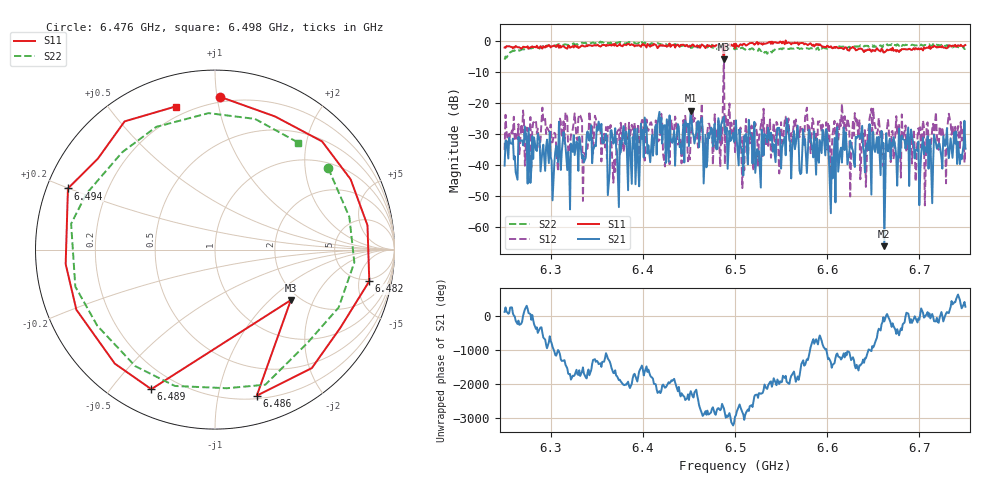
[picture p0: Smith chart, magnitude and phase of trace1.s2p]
# Hz S RI R 50
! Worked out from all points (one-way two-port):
!   401 points, 6.25 GHz to 6.75 GHz, reference 50 ohm
!   highest |S21| = -22.49 dB at 6.452 GHz (marker M1); lowest = -66.2 dB at 6.662 GHz (marker M2)
!   lowest |S11| = -5.9 dB at 6.488 GHz (marker M3), VSWR 3.06, Z = 90 - j68.2 ohm
!   |S11| at or under -10 dB: nowhere
!   |S22| runs from -6.0 to -0.2 dB; largest |S21 - S12| = 0.73
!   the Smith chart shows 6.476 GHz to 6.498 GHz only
!   S11 on the Smith chart (normalised r, x): 6.476 GHz: 0.16, +1.02; 6.482 GHz: 4.55, -6.95; 6.486 GHz: 0.23, -1.30; 6.489 GHz: 0.11, -0.64; 6.494 GHz: 0.06, +0.20; 6.498 GHz: 0.15, +0.75
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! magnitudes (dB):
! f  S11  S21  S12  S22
! 6.25 GHz  -2.1  -40.2  -35.1  -6.0
! 6.334 GHz  -1.4  -37.9  -25.7  -0.5
! 6.35 GHz  -1.4  -27.6  -27.2  -0.5
! 6.369 GHz  -1.5  -32.4  -38.4  -0.5
! 6.418 GHz  -1.5  -22.9  -32.0  -0.9
! 6.452 GHz  -1.8  -22.5  -30.6  -2.2
! 6.476 GHz  -1.4  -34.0  -39.9  -2.2
! 6.482 GHz  -1.1  -24.9  -25.7  -1.9
! 6.486 GHz  -1.4  -26.1  -33.1  -2.1
! 6.488 GHz  -5.9  -24.4  -3.4  -2.1
! 6.489 GHz  -1.4  -29.5  -39.8  -1.9
! 6.494 GHz  -1.0  -28.9  -20.2  -2.4
! 6.498 GHz  -1.6  -29.6  -31.2  -2.4
! 6.5 GHz  -2.3  -31.5  -35.9  -2.7
! 6.525 GHz  -1.1  -36.3  -40.2  -3.2
! 6.584 GHz  -1.5  -34.8  -25.0  -2.4
! 6.598 GHz  -2.0  -36.9  -31.4  -2.4
! 6.606 GHz  -2.4  -44.3  -29.9  -2.2
! 6.635 GHz  -2.5  -30.9  -25.3  -1.7
! 6.662 GHz  -3.7  -66.2  -37.4  -1.5
! 6.668 GHz  -2.8  -31.5  -33.2  -1.3
! 6.75 GHz  -1.3  -34.8  -34.5  -2.5
